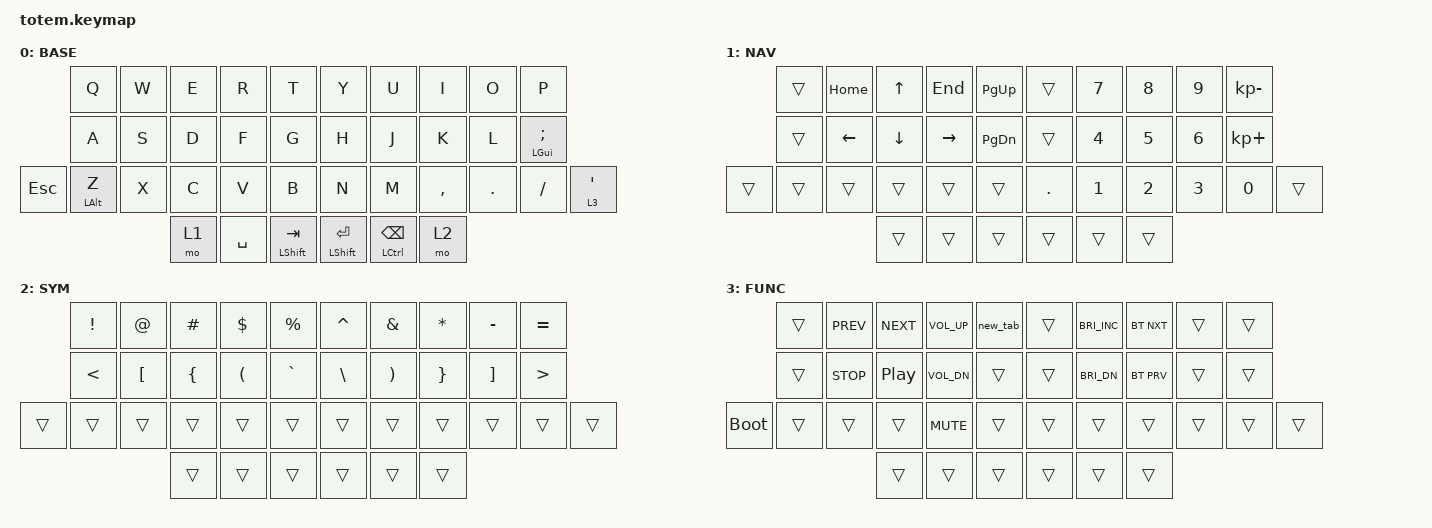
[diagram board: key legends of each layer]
//
//                                                        ▀▀▀▀▀     ▀▀▀▀▀          ▀▀█▀▀
//                                                        ▄▀▀▀▄  ▄  ▄▀▀▀▄  ▄  ▄▀▀▀▄  █  ▄▀▀▀▄
//                                                        █   █  █  █   █  █  █   █  █  █   █
//                                                         ▀▀▀   █   ▀▀▀   █   ▀▀▀   ▀   ▀▀▀
//                                                               █      ▄▄▄█▄▄▄    █   █  
//                                                               ▀      █  █  █     █▄█
//                                                             ▀▀▀▀▀    █  █  █      ▀
//                                                                      ▀  ▀  ▀
//
// ▄▄▄▄▄▄▄▄▄▄▄▄▄▄▄▄▄▄▄▄▄▄▄▄▄▄▄▄▄▄▄▄▄▄▄▄▄▄▄▄▄▄▄▄▄▄▄▄▄▄▄▄▄▄▄▄▄▄▄▄▄▄▄▄▄▄▄▄▄▄▄▄▄▄▄▄▄▄▄▄▄▄▄▄▄▄▄▄▄▄▄▄▄▄▄▄▄▄▄▄▄▄▄▄▄▄▄▄▄▄▄▄▄▄▄▄▄▄▄▄▄▄▄▄▄▄▄▄▄▄▄▄▄▄▄▄▄▄▄▄▄▄▄▄▄▄▄▄▄

#include <behaviors.dtsi>
#include <dt-bindings/zmk/bt.h>
#include <dt-bindings/zmk/keys.h>

#define BASE 0
#define NAV  1
#define SYM  2
#define ADJ  3
#define TVP1 4
#define TVP2 5

&mt {
    quick-tap-ms = <100>;
    global-quick-tap;
    flavor = "tap-preferred";
    tapping-term-ms = <170>;
};

/ {
    combos { compatible = "zmk,combos"; };

    macros {
        new_tab: new_tab {
            compatible = "zmk,behavior-macro";
            #binding-cells = <0>;
            bindings =
                <&macro_press>,
                <&kp LGUI>,
                <&macro_tap>,
                <&kp T>,
                <&macro_press>,
                <&kp LEFT_ALT>,
                <&macro_tap>,
                <&kp LEFT_ARROW>,
                <&macro_release>,
                <&kp LEFT_ALT>,
                <&macro_tap>,
                <&kp W>,
                <&macro_release>,
                <&kp LGUI>;

            label = "NEW_TAB";
        };
    };

    keymap {
        compatible = "zmk,keymap";

        // ▄▄▄▄▄▄▄▄▄▄▄▄▄▄▄▄▄▄▄▄▄▄▄▄▄▄▄▄▄▄▄▄▄▄▄▄▄▄▄▄▄▄▄▄▄▄▄▄▄▄▄▄▄▄▄▄▄▄▄▄▄▄▄▄▄▄▄▄▄▄▄▄▄▄▄▄▄▄▄▄▄▄▄▄▄▄▄▄▄▄▄▄▄▄▄▄▄▄▄▄▄▄▄▄▄▄▄▄▄▄▄▄▄▄▄▄▄▄▄▄▄▄▄▄▄▄▄▄▄▄▄▄▄▄▄▄▄▄▄▄▄▄▄▄▄▄▄▄▄

        base_layer {
            // ┏━━━━━━━━━━━━━━━━━━━━━━━━━━━━━━━━━━━━━━━┓

            label = "BASE";

            // ┗━━━━━━━━━━━━━━━━━━━━━━━━━━━━━━━━━━━━━━━┛
            //             ┏━━━━━━━━━━━┳━━━━━━━━━━━┳━━━━━━━━━━━┳━━━━━━━━━━━┳━━━━━━━━━━━┓   ┏━━━━━━━━━━━┳━━━━━━━━━━━┳━━━━━━━━━━━┳━━━━━━━━━━━┳━━━━━━━━━━━┓
            //             ┃     Q     ┃     W     ┃     F     ┃     P     ┃     G     ┃   ┃     J     ┃     L     ┃     U     ┃     Y     ┃     ;     ┃
            //             ┣━━━━━━━━━━━╋━━━━━━━━━━━╋━━━━━━━━━━━╋━━━━━━━━━━━╋━━━━━━━━━━━┫   ┣━━━━━━━━━━━╋━━━━━━━━━━━╋━━━━━━━━━━━╋━━━━━━━━━━━╋━━━━━━━━━━━┫
            //             ┃     A     ┃     R     ┃     S     ┃     T     ┃     D     ┃   ┃     H     ┃     N     ┃     E     ┃     I     ┃     O     ┃
            // ┏━━━━━━━━━━━╋━━━━━━━━━━━╋━━━━━━━━━━━╋━━━━━━━━━━━╋━━━━━━━━━━━╋━━━━━━━━━━━┫   ┣━━━━━━━━━━━╋━━━━━━━━━━━╋━━━━━━━━━━━╋━━━━━━━━━━━╋━━━━━━━━━━━╋━━━━━━━━━━━┓
            // ┃     Q     ┃     Z     ┃     X     ┃     C     ┃     V     ┃     B     ┃   ┃     K     ┃     M     ┃     ,     ┃     .     ┃     /     ┃     \     ┃
            // ┗━━━━━━━━━━━┻━━━━━━━━━━━┻━━━━━━━━━━━╋━━━━━━━━━━━╋━━━━━━━━━━━╋━━━━━━━━━━━┫   ┣━━━━━━━━━━━╋━━━━━━━━━━━╋━━━━━━━━━━━╋━━━━━━━━━━━┻━━━━━━━━━━━┻━━━━━━━━━━━┛
            //                                     ┃    DEL    ┃    TAB    ┃    SPC    ┃   ┃   ENTER   ┃           ┃   BSPC    ┃
            //                                     ┗━━━━━━━━━━━┻━━━━━━━━━━━┻━━━━━━━━━━━┛   ┗━━━━━━━━━━━┻━━━━━━━━━━━┻━━━━━━━━━━━┛

            bindings = <
                         &kp Q           &kp W  &kp E  &kp R      &kp T                 &kp Y                 &kp U               &kp I      &kp O    &kp P
                         &kp A           &kp S  &kp D  &kp F      &kp G                 &kp H                 &kp J               &kp K      &kp L    &mt LGUI SEMI
&kp ESCAPE  &mt LEFT_ALT Z  &kp X  &kp C  &kp V      &kp B                 &kp N                 &kp M               &kp COMMA  &kp DOT  &kp FSLH        &lt 3 SQT
                                                &mo 1  &kp SPACE  &mt LEFT_SHIFT TAB    &mt LEFT_SHIFT ENTER  &mt LCTRL BACKSPACE  &mo 2
            >;
        };

        // ▄▄▄▄▄▄▄▄▄▄▄▄▄▄▄▄▄▄▄▄▄▄▄▄▄▄▄▄▄▄▄▄▄▄▄▄▄▄▄▄▄▄▄▄▄▄▄▄▄▄▄▄▄▄▄▄▄▄▄▄▄▄▄▄▄▄▄▄▄▄▄▄▄▄▄▄▄▄▄▄▄▄▄▄▄▄▄▄▄▄▄▄▄▄▄▄▄▄▄▄▄▄▄▄▄▄▄▄▄▄▄▄▄▄▄▄▄▄▄▄▄▄▄▄▄▄▄▄▄▄▄▄▄▄▄▄▄▄▄▄▄▄▄▄▄▄▄▄▄

        nav_layer {
            // ┏━━━━━━━━━━━━━━━━━━━━━━━━━━━━━━━━━━━━━━━┓

            label = "NAV";

            // ┗━━━━━━━━━━━━━━━━━━━━━━━━━━━━━━━━━━━━━━━┛
            //             ┏━━━━━━━━━━━┳━━━━━━━━━━━┳━━━━━━━━━━━┳━━━━━━━━━━━┳━━━━━━━━━━━┓   ┏━━━━━━━━━━━┳━━━━━━━━━━━┳━━━━━━━━━━━┳━━━━━━━━━━━┳━━━━━━━━━━━┓
            //             ┃           ┃           ┃     UP    ┃           ┃     {     ┃   ┃     }     ┃     7     ┃     8     ┃     9     ┃     +     ┃
            //             ┣━━━━━━━━━━━╋━━━━━━━━━━━╋━━━━━━━━━━━╋━━━━━━━━━━━╋━━━━━━━━━━━┫   ┣━━━━━━━━━━━╋━━━━━━━━━━━╋━━━━━━━━━━━╋━━━━━━━━━━━╋━━━━━━━━━━━┫
            //             ┃   SHIFT   ┃   LEFT    ┃    DOWN   ┃   RIGHT   ┃     [     ┃   ┃     ]     ┃     4     ┃     5     ┃     6     ┃     -     ┃
            // ┏━━━━━━━━━━━╋━━━━━━━━━━━╋━━━━━━━━━━━╋━━━━━━━━━━━╋━━━━━━━━━━━╋━━━━━━━━━━━┫   ┣━━━━━━━━━━━╋━━━━━━━━━━━╋━━━━━━━━━━━╋━━━━━━━━━━━╋━━━━━━━━━━━╋━━━━━━━━━━━┓
            // ┃           ┃           ┃   P UP    ┃  C LOCK   ┃  P DOWN   ┃     (     ┃   ┃     )     ┃     1     ┃     2     ┃     3     ┃     *     ┃           ┃
            // ┗━━━━━━━━━━━┻━━━━━━━━━━━┻━━━━━━━━━━━╋━━━━━━━━━━━╋━━━━━━━━━━━╋━━━━━━━━━━━┫   ┣━━━━━━━━━━━╋━━━━━━━━━━━╋━━━━━━━━━━━╋━━━━━━━━━━━┻━━━━━━━━━━━┻━━━━━━━━━━━┛
            //                                     ┃           ┃    TAB    ┃    SPC    ┃   ┃    DEL    ┃     0     ┃           ┃
            //                                     ┗━━━━━━━━━━━┻━━━━━━━━━━━┻━━━━━━━━━━━┛   ┗━━━━━━━━━━━┻━━━━━━━━━━━┻━━━━━━━━━━━┛

            bindings = <
        &trans  &kp HOME  &kp UP    &kp END    &kp PAGE_UP      &trans      &kp N7  &kp N8  &kp N9  &kp KP_MINUS
        &trans  &kp LEFT  &kp DOWN  &kp RIGHT  &kp PAGE_DOWN    &trans      &kp N4  &kp N5  &kp N6  &kp KP_PLUS
&trans  &trans  &trans    &trans    &trans     &trans           &kp PERIOD  &kp N1  &kp N2  &kp N3  &kp N0        &trans
                          &trans    &trans     &trans           &trans      &trans  &trans
            >;
        };

        // ▄▄▄▄▄▄▄▄▄▄▄▄▄▄▄▄▄▄▄▄▄▄▄▄▄▄▄▄▄▄▄▄▄▄▄▄▄▄▄▄▄▄▄▄▄▄▄▄▄▄▄▄▄▄▄▄▄▄▄▄▄▄▄▄▄▄▄▄▄▄▄▄▄▄▄▄▄▄▄▄▄▄▄▄▄▄▄▄▄▄▄▄▄▄▄▄▄▄▄▄▄▄▄▄▄▄▄▄▄▄▄▄▄▄▄▄▄▄▄▄▄▄▄▄▄▄▄▄▄▄▄▄▄▄▄▄▄▄▄▄▄▄▄▄▄▄▄▄▄

        sym_layer {
            // ┏━━━━━━━━━━━━━━━━━━━━━━━━━━━━━━━━━━━━━━━┓

            label = "SYM";

            // ┗━━━━━━━━━━━━━━━━━━━━━━━━━━━━━━━━━━━━━━━┛
            //             ┏━━━━━━━━━━━┳━━━━━━━━━━━┳━━━━━━━━━━━┳━━━━━━━━━━━┳━━━━━━━━━━━┓   ┏━━━━━━━━━━━┳━━━━━━━━━━━┳━━━━━━━━━━━┳━━━━━━━━━━━┳━━━━━━━━━━━┓
            //             ┃     !     ┃     @     ┃     #     ┃     $     ┃     %     ┃   ┃     ˆ     ┃     &     ┃     Ü     ┃     '     ┃     "     ┃
            //             ┣━━━━━━━━━━━╋━━━━━━━━━━━╋━━━━━━━━━━━╋━━━━━━━━━━━╋━━━━━━━━━━━┫   ┣━━━━━━━━━━━╋━━━━━━━━━━━╋━━━━━━━━━━━╋━━━━━━━━━━━╋━━━━━━━━━━━┫
            //             ┃     Ä     ┃           ┃    SZ     ┃           ┃           ┃   ┃   MUTE    ┃   YEN     ┃   EURO    ┃  POUND    ┃     Ö     ┃
            // ┏━━━━━━━━━━━╋━━━━━━━━━━━╋━━━━━━━━━━━╋━━━━━━━━━━━╋━━━━━━━━━━━╋━━━━━━━━━━━┫   ┣━━━━━━━━━━━╋━━━━━━━━━━━╋━━━━━━━━━━━╋━━━━━━━━━━━╋━━━━━━━━━━━╋━━━━━━━━━━━┓
            // ┃           ┃  EMAIL1   ┃  EMAIL2   ┃           ┃           ┃           ┃   ┃   VOL-    ┃   VOL+    ┃   LAST    ┃   NEXT    ┃     \     ┃           ┃
            // ┗━━━━━━━━━━━┻━━━━━━━━━━━┻━━━━━━━━━━━╋━━━━━━━━━━━╋━━━━━━━━━━━╋━━━━━━━━━━━┫   ┣━━━━━━━━━━━╋━━━━━━━━━━━╋━━━━━━━━━━━╋━━━━━━━━━━━┻━━━━━━━━━━━┻━━━━━━━━━━━┛
            //                                     ┃           ┃    GIF    ┃    ADJ    ┃   ┃           ┃           ┃           ┃
            //                                     ┗━━━━━━━━━━━┻━━━━━━━━━━━┻━━━━━━━━━━━┛   ┗━━━━━━━━━━━┻━━━━━━━━━━━┻━━━━━━━━━━━┛

            bindings = <
        &kp EXCL       &kp AT            &kp HASH        &kp DLLR              &kp PRCNT    &kp CARET      &kp AMPS               &kp ASTERISK     &kp MINUS          &kp EQUAL
        &kp LESS_THAN  &kp LEFT_BRACKET  &kp LEFT_BRACE  &kp LEFT_PARENTHESIS  &kp GRAVE    &kp BACKSLASH  &kp RIGHT_PARENTHESIS  &kp RIGHT_BRACE  &kp RIGHT_BRACKET  &kp GREATER_THAN
&trans  &trans         &trans            &trans          &trans                &trans       &trans         &trans                 &trans           &trans             &trans            &trans
                                         &trans          &trans                &trans       &trans         &trans                 &trans
            >;
        };

        // ▄▄▄▄▄▄▄▄▄▄▄▄▄▄▄▄▄▄▄▄▄▄▄▄▄▄▄▄▄▄▄▄▄▄▄▄▄▄▄▄▄▄▄▄▄▄▄▄▄▄▄▄▄▄▄▄▄▄▄▄▄▄▄▄▄▄▄▄▄▄▄▄▄▄▄▄▄▄▄▄▄▄▄▄▄▄▄▄▄▄▄▄▄▄▄▄▄▄▄▄▄▄▄▄▄▄▄▄▄▄▄▄▄▄▄▄▄▄▄▄▄▄▄▄▄▄▄▄▄▄▄▄▄▄▄▄▄▄▄▄▄▄▄▄▄▄▄▄▄

        func_layer {
            // ┏━━━━━━━━━━━━━━━━━━━━━━━━━━━━━━━━━━━━━━━┓

            label = "FUNC";

            // ┗━━━━━━━━━━━━━━━━━━━━━━━━━━━━━━━━━━━━━━━┛
            //             ┏━━━━━━━━━━━┳━━━━━━━━━━━┳━━━━━━━━━━━┳━━━━━━━━━━━┳━━━━━━━━━━━┓   ┏━━━━━━━━━━━┳━━━━━━━━━━━┳━━━━━━━━━━━┳━━━━━━━━━━━┳━━━━━━━━━━━┓
            //             ┃   RESET   ┃ BT CLEAR  ┃  OUT TOG  ┃           ┃           ┃   ┃           ┃    F7     ┃    F8     ┃    F9     ┃    F12    ┃
            //             ┣━━━━━━━━━━━╋━━━━━━━━━━━╋━━━━━━━━━━━╋━━━━━━━━━━━╋━━━━━━━━━━━┫   ┣━━━━━━━━━━━╋━━━━━━━━━━━╋━━━━━━━━━━━╋━━━━━━━━━━━╋━━━━━━━━━━━┫
            //             ┃ BOOTLOAD  ┃ BT NEXT   ┃           ┃           ┃           ┃   ┃           ┃    F4     ┃    F5     ┃    F6     ┃    F11    ┃
            // ┏━━━━━━━━━━━╋━━━━━━━━━━━╋━━━━━━━━━━━╋━━━━━━━━━━━╋━━━━━━━━━━━╋━━━━━━━━━━━┫   ┣━━━━━━━━━━━╋━━━━━━━━━━━╋━━━━━━━━━━━╋━━━━━━━━━━━╋━━━━━━━━━━━╋━━━━━━━━━━━┓
            // ┃           ┃           ┃ BT PREV   ┃           ┃           ┃           ┃   ┃           ┃    F1     ┃    F2     ┃    F3     ┃    F10    ┃           ┃
            // ┗━━━━━━━━━━━┻━━━━━━━━━━━┻━━━━━━━━━━━╋━━━━━━━━━━━╋━━━━━━━━━━━╋━━━━━━━━━━━┫   ┣━━━━━━━━━━━╋━━━━━━━━━━━╋━━━━━━━━━━━╋━━━━━━━━━━━┻━━━━━━━━━━━┻━━━━━━━━━━━┛
            //                                     ┃           ┃           ┃           ┃   ┃           ┃           ┃           ┃
            //                                     ┗━━━━━━━━━━━┻━━━━━━━━━━━┻━━━━━━━━━━━┛   ┗━━━━━━━━━━━┻━━━━━━━━━━━┻━━━━━━━━━━━┛

            bindings = <
             &trans  &kp C_PREV  &kp C_NEXT        &kp C_VOLUME_UP  &new_tab    &trans  &kp C_BRI_INC  &bt BT_NXT  &trans  &trans
             &trans  &kp C_STOP  &kp C_PLAY_PAUSE  &kp C_VOL_DN     &trans      &trans  &kp C_BRI_DN   &bt BT_PRV  &trans  &trans
&bootloader  &trans  &trans      &trans            &kp C_MUTE       &trans      &trans  &trans         &trans      &trans  &trans  &trans
                                 &trans            &trans           &trans      &trans  &trans         &trans
            >;
        };

        // ▄▄▄▄▄▄▄▄▄▄▄▄▄▄▄▄▄▄▄▄▄▄▄▄▄▄▄▄▄▄▄▄▄▄▄▄▄▄▄▄▄▄▄▄▄▄▄▄▄▄▄▄▄▄▄▄▄▄▄▄▄▄▄▄▄▄▄▄▄▄▄▄▄▄▄▄▄▄▄▄▄▄▄▄▄▄▄▄▄▄▄▄▄▄▄▄▄▄▄▄▄▄▄▄▄▄▄▄▄▄▄▄▄▄▄▄▄▄▄▄▄▄▄▄▄▄▄▄▄▄▄▄▄▄▄▄▄▄▄▄▄▄▄▄▄▄▄▄▄
        // ▄▄▄▄▄▄▄▄▄▄▄▄▄▄▄▄▄▄▄▄▄▄▄▄▄▄▄▄▄▄▄▄▄▄▄▄▄▄▄▄▄▄▄▄▄▄▄▄▄▄▄▄▄▄▄▄▄▄▄▄▄▄▄▄▄▄▄▄▄▄▄▄▄▄▄▄▄▄▄▄▄▄▄▄▄▄▄▄▄▄▄▄▄▄▄▄▄▄▄▄▄▄▄▄▄▄▄▄▄▄▄▄▄▄▄▄▄▄▄▄▄▄▄▄▄▄▄▄▄▄▄▄▄▄▄▄▄▄▄▄▄▄▄▄▄▄▄▄▄
    };
};
